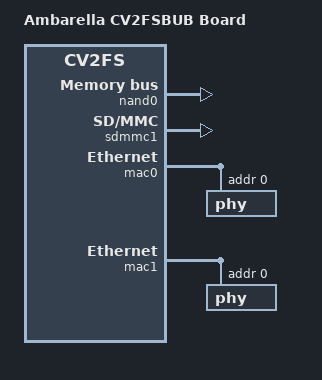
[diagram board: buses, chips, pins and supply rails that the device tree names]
/*
 * Copyright (C) 2013 Ambarella,Inc. - http://www.ambarella.com/
 * Author: Cao Rongrong <rrcao@ambarella.com>
 *
 * This program is free software; you can redistribute it and/or modify
 * it under the terms of the GNU General Public License version 2 as
 * published by the Free Software Foundation.
 */
/dts-v1/;

/include/ "ambarella-cv2fs-ambalink.dtsi"

/ {
	model = "Ambarella CV2FSBUB Board";
	compatible = "ambarella,cv2fsbub", "ambarella,cv2fs";

	chosen {
	};

	apb@e4000000 {
		uart0: uart@e4000000 {
			status = "disabled";
		};
	};

	ahb@e0000000 {
		nand0: nand@e0002000 {
			status = "ok";
		};

		sdmmc0: sdmmc0@e0004000 {
			/*pwr-gpios = <&gpio 35 0x1>;*/
			/*v18-gpios = <&gpio 102 0x1>;*/
			/*amb,fixed-cd = <1>;*/
			status = "disabled";
		};

		sdmmc1: sdmmc1@e0005000 {
			/*pwr-gpios = <&gpio 56 0x1>;*/
			/*v18-gpios = <&gpio 0 0x1>;*/
			/*amb,fixed-cd = <1>;*/
			keep-power-in-suspend;
			no-1-8-v;
			max-frequency = <50000000>;
			status = "ok";
		};

		dma0: dma@e0020000 {
			/* amb,dma-startchannel = <2>; */ /* Prevent conflict between RTOS. */
			status = "disabled";
		};

		dma1: dma@e0021000 {
			/* amb,dma-startchannel = <2>; */ /* Prevent conflict between RTOS. */
			status = "disabled";
		};

		mac0: ethernet@e000e000 {
			amb,tx-clk-invert;
			phy@0 {
				reg = <0>;
			};
		};

		mac1: ethernet@e0032000 {
			amb,tx-clk-invert;
			phy@0 {
				reg = <0>;
			};
		};


		uart1: uart@e0017000 {
			/*/delete-property/ amb,msr-used;    */
			/delete-property/ amb,txdma-used;
			/delete-property/ amb,rxdma-used;
			status = "disabled";
		};

		uart2: uart@e0018000 {
			/*/delete-property/ amb,msr-used;    */
			/delete-property/ amb,txdma-used;
			/delete-property/ amb,rxdma-used;
			status = "disabled";
		};

		uart3: uart@e0019000 {
			/*/delete-property/ amb,msr-used;    */
			/delete-property/ amb,txdma-used;
			/delete-property/ amb,rxdma-used;
			status = "disabled";
		};

		uart4: uart@e001a000 {
			/*/delete-property/ amb,msr-used;    */
			/delete-property/ amb,txdma-used;
			/delete-property/ amb,rxdma-used;
			status = "disabled";
		};
	};

	rct@ed080000 {
		usbphy: usbphy@ed080050 {
			/* high will trigger the ocp interrupt */
			amb,ocp-polarity = <0>;
			pinctrl-names = "default";
			pinctrl-0 = <&usb_host0_pins_a>;
			/*status = "disabled";*/
		};
	};

	/* for profiling, see aipc_profile.c */
	profile_timer {
		compatible = "ambarella,timer19";
		reg = <0xe4006088 0x4>;
	};

	ambalink {
		compatible = "simple-bus";
		#address-cells = <1>;
		#size-cells = <1>;

		aipc_mutex: ambarella-ipc-mutex {
			compatible = "ambarella,ipc-mutex";
			interrupts = <0 95 0x4>;
			amb,scr-regmap = <&scratchpad_syscon>;
		};

		/* must be consistent with ambalink_cfg.h */
		rproc0: ambarella-rproc {
			compatible = "ambarella,rproc";
			interrupts = <0 90 0x4>,	/* rvq_rx_irq, get rvq kick from rtos */
				     <0 91 0x4>;	/* svq_rx_irq, get svq ack from rtos */
			amb,scr-regmap = <&scratchpad_syscon>;
		};

		/* For RTOS as Master/Host, Linux as Client/Remote */
		rpclnt0: ambarella-rpclnt {
			compatible = "ambarella,rpclnt";
			interrupts = <0 90 0x4>,	/* rvq_rx_irq, get rvq kick from rtos */
				     <0 91 0x4>;	/* svq_rx_irq, get svq ack from rtos */
			amb,svq_kick = <92>;		/* svq_tx, C1_to_C0_kick */
			amb,rvq_ack  = <93>;		/* rvq_tx, C1_to_C0 ack */
			amb,scr-regmap = <&scratchpad_syscon>;
		};
	};

};
